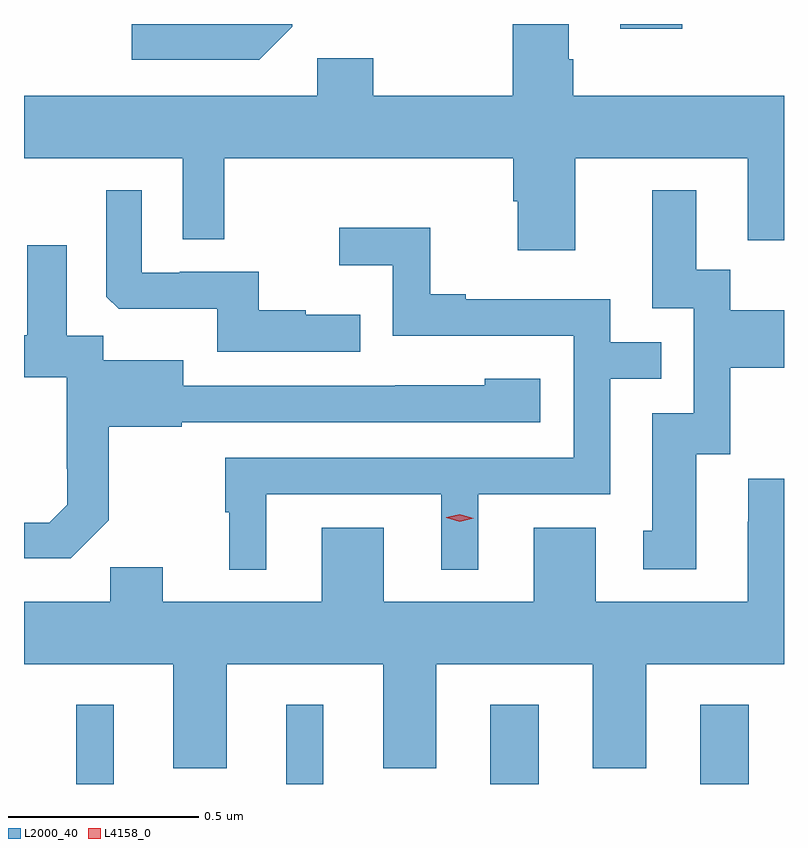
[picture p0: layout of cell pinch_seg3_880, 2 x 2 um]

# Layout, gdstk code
import gdstk
lib = gdstk.Library(unit=1e-6, precision=1e-09)
def R(c, l, rs):  # rectangles x0, y0, x1, y1
    for r in rs: c.add(gdstk.rectangle(r[:2], r[2:], *l))
def P(c, l, *ps):  # polygons
    for p in ps: c.add(gdstk.Polygon(p, *l))
L2000_40 = (2000, 40)
L4158_0 = (4158, 0)

pinch_seg3_880 = lib.new_cell('pinch_seg3_880')
R(pinch_seg3_880, L2000_40, [(731.33,681.953,731.428,682.162), (731.882,681.953,731.98,682.162), (732.419,681.953,732.547,682.162), (732.971,681.953,733.099,682.162), (732.761,683.94,732.924,683.953), (731.192,683.952,731.382,683.953)])
P(pinch_seg3_880, L2000_40, [(731.898,683.946),(731.898,683.953),(731.475,683.953),(731.475,683.859),(731.811,683.859)],
  [(732.643,683.6),(733.097,683.6),(733.097,683.384),(733.192,683.384),(733.192,683.764),(732.638,683.764),(732.638,683.86),(732.625,683.86),(732.625,683.953),(732.478,683.953),(732.478,683.764),(732.111,683.764),(732.111,683.863),(731.964,683.863),(731.964,683.764),(731.192,683.764),(731.192,683.6),(731.61,683.6),(731.61,683.386),(731.719,683.386),(731.719,683.6),(732.479,683.6),(732.479,683.487),(732.491,683.487),(732.491,683.358),(732.643,683.358)],
  [(732.077,683.188),(731.933,683.188),(731.933,683.2),(731.81,683.2),(731.81,683.301),(731.602,683.301),(731.602,683.298),(731.502,683.298),(731.502,683.515),(731.409,683.515),(731.409,683.235),(731.441,683.204),(731.7,683.204),(731.7,683.091),(732.077,683.091)],
  [(732.961,682.821),(733.05,682.821),(733.05,683.048),(733.192,683.048),(733.192,683.2),(733.051,683.2),(733.051,683.306),(732.961,683.306),(732.961,683.515),(732.845,683.515),(732.845,683.205),(732.954,683.205),(732.954,682.929),(732.845,682.929),(732.845,682.62),(732.821,682.62),(732.821,682.518),(732.961,682.518)],
  [(731.83,682.716),(732.29,682.716),(732.29,682.517),(732.388,682.517),(732.388,682.716),(732.735,682.716),(732.735,683.019),(732.869,683.019),(732.869,683.115),(732.735,683.115),(732.735,683.229),(732.355,683.229),(732.355,683.242),(732.261,683.242),(732.261,683.417),(732.021,683.417),(732.021,683.318),(732.162,683.318),(732.162,683.133),(732.639,683.133),(732.639,682.812),(731.721,682.812),(731.721,682.668),(731.732,682.668),(731.732,682.517),(731.83,682.517)],
  [(731.415,682.647),(731.415,682.893),(731.607,682.893),(731.607,682.905),(732.55,682.905),(732.55,683.02),(732.405,683.02),(732.405,683.002),(732.169,683.002),(732.169,683.001),(731.611,683.001),(731.611,683.068),(731.4,683.068),(731.4,683.132),(731.305,683.132),(731.305,683.371),(731.201,683.371),(731.201,683.134),(731.192,683.134),(731.192,683.024),(731.304,683.024),(731.304,682.783),(731.306,682.783),(731.306,682.688),(731.259,682.641),(731.192,682.641),(731.192,682.547),(731.315,682.547)],
  [(731.725,682.268),(732.137,682.268),(732.137,681.995),(732.277,681.995),(732.277,682.268),(732.689,682.268),(732.689,681.995),(732.829,681.995),(732.829,682.268),(733.192,682.268),(733.192,682.756),(733.098,682.756),(733.098,682.643),(733.097,682.643),(733.097,682.432),(732.697,682.432),(732.697,682.627),(732.533,682.627),(732.533,682.432),(732.139,682.432),(732.139,682.627),(731.975,682.627),(731.975,682.432),(731.557,682.432),(731.557,682.523),(731.419,682.523),(731.419,682.432),(731.192,682.432),(731.192,682.268),(731.585,682.268),(731.585,681.995),(731.725,681.995)])
P(pinch_seg3_880, L4158_0, [(732.339,682.643),(732.303,682.654),(732.303,682.655),(732.303,682.655),(732.339,682.663),(732.375,682.653),(732.375,682.652),(732.375,682.652)])

lib.write_gds('pinch_seg3_880.gds')
